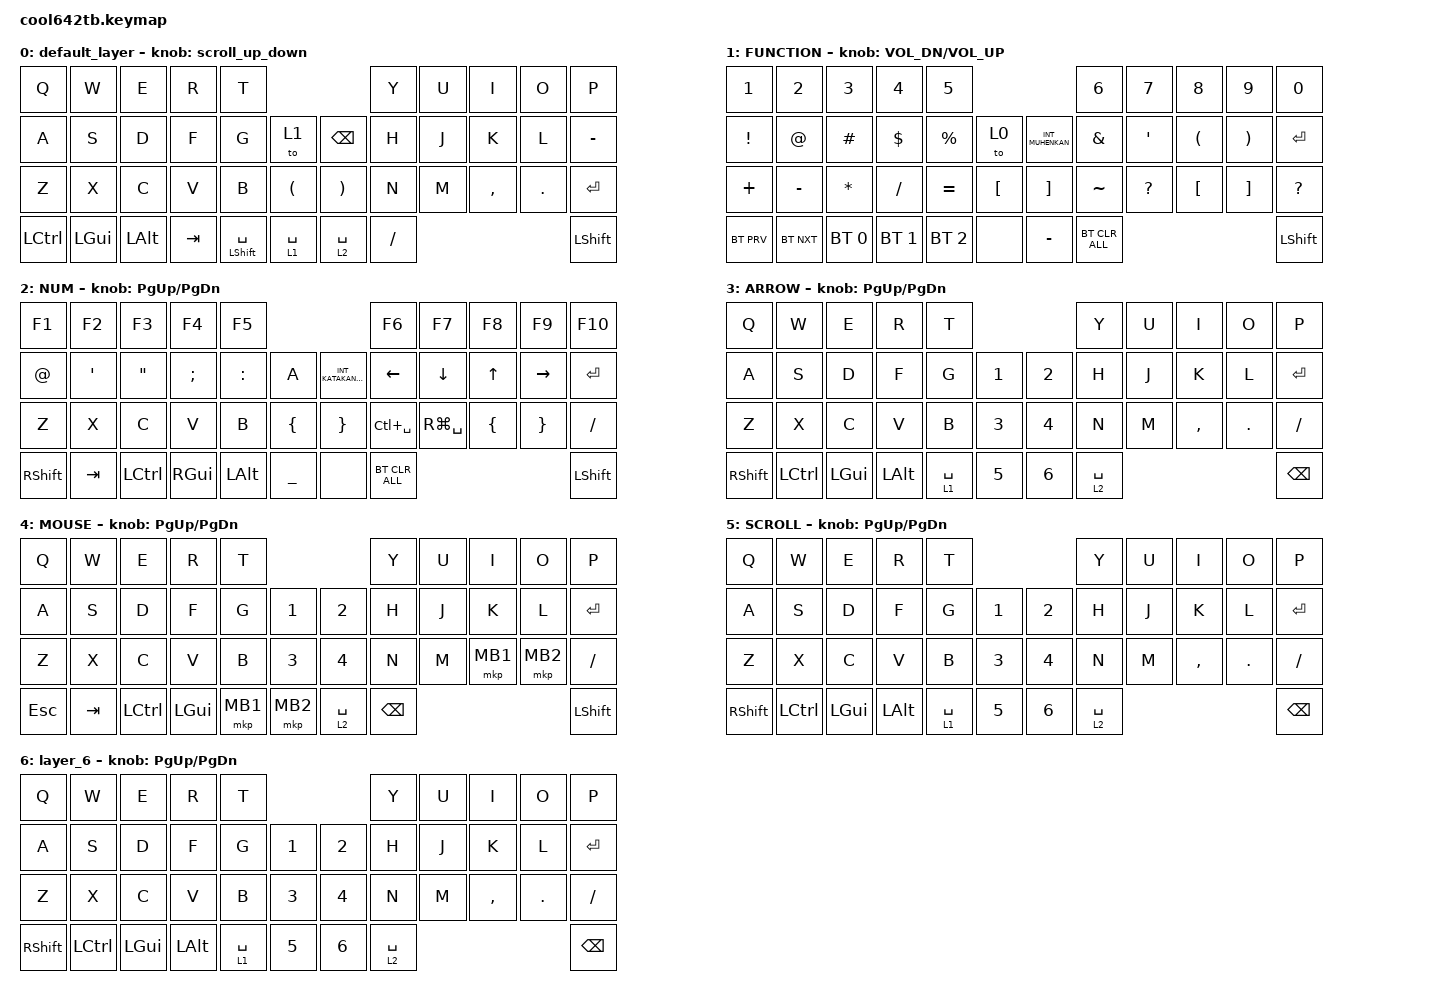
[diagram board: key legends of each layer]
#include <behaviors.dtsi>
#include <dt-bindings/zmk/bt.h>
#include <dt-bindings/zmk/keys.h>
#include <dt-bindings/zmk/pointing.h>

#define ZMK_MOUSE_DEFAULT_SCRL_VAL 100
#define MOUSE 4
#define SCROLL 5
#define NUM 6

&mt {
    flavor = "balanced";
    quick-tap-ms = <0>;
};

/ {
    combos {
        compatible = "zmk,combos";

        comb1 {
            bindings = <&kp TAB>;
            key-positions = <11 10>;
        };

        comb2 {
            bindings = <&kp LS(ESCAPE)>;
            key-positions = <0 1>;
        };

        comb3 {
            bindings = <&kp CAPSLOCK>;
            key-positions = <22 23>;
        };

        comb4 {
            bindings = <&kp BACKSPACE>;
            key-positions = <9 8>;
        };

        comb5 {
            bindings = <&bt BT_CLR_ALL>;
            key-positions = <9 8>;
            timeout-ms = <0>;
            layers = <2>;
        };
    };

    macros {
        to_layer_0: to_layer_0 {
            compatible = "zmk,behavior-macro-one-param";
            #binding-cells = <1>;
            bindings = <&to 0 &macro_param_1to1 &kp MACRO_PLACEHOLDER>;
            label = "TO_LAYER_0";
        };
    };

    behaviors {
        lt_to_layer_0: lt_to_layer_0 {
            compatible = "zmk,behavior-hold-tap";
            label = "LAYER_TAP_TO_0";
            bindings = <&mo>, <&to_layer_0>;

            #binding-cells = <2>;
            tapping-term-ms = <200>;
        };

        scroll_up_down: behavior_sensor_rotate_mouse_wheel_up_down {
            compatible = "zmk,behavior-sensor-rotate";
            #sensor-binding-cells = <0>;
            bindings = <&msc SCRL_UP>, <&msc SCRL_DOWN>;

            tap-ms = <20>;
        };
    };

    keymap {
        compatible = "zmk,keymap";

        default_layer {
            bindings = <
&kp Q             &kp W         &kp E         &kp R    &kp T                                                              &kp Y      &kp U  &kp I      &kp O       &kp P
&kp A             &kp S         &kp D         &kp F    &kp G                 &to 1                 &kp BACKSPACE          &kp H      &kp J  &kp K      &kp L       &kp MINUS
&kp Z             &kp X         &kp C         &kp V    &kp B                 &kp LEFT_PARENTHESIS  &kp RIGHT_PARENTHESIS  &kp N      &kp M  &kp COMMA  &kp PERIOD  &kp ENTER
&kp LEFT_CONTROL  &kp LEFT_GUI  &kp LEFT_ALT  &kp TAB  &mt LEFT_SHIFT SPACE  &lt 1 SPACE           &lt 2 SPACE            &kp SLASH                                &kp LEFT_SHIFT
            >;

            sensor-bindings = <&scroll_up_down>;
        };

        FUNCTION {
            bindings = <
&kp N1           &kp N2       &kp N3        &kp N4        &kp N5                                             &kp N6          &kp N7        &kp N8                &kp N9                 &kp N0
&kp EXCLAMATION  &kp AT_SIGN  &kp HASH      &kp DOLLAR    &kp PERCENT   &to 0             &kp INT_MUHENKAN   &kp AMPERSAND   &kp SQT       &kp LEFT_PARENTHESIS  &kp RIGHT_PARENTHESIS  &kp ENTER
&kp PLUS         &kp MINUS    &kp ASTERISK  &kp SLASH     &kp EQUAL     &kp LEFT_BRACKET  &kp RIGHT_BRACKET  &kp TILDE       &kp QUESTION  &kp LEFT_BRACKET      &kp RIGHT_BRACKET      &kp QUESTION
&bt BT_PRV       &bt BT_NXT   &bt BT_SEL 0  &bt BT_SEL 1  &bt BT_SEL 2  &none             &kp MINUS          &bt BT_CLR_ALL                                                             &kp LEFT_SHIFT
            >;

            sensor-bindings = <&inc_dec_kp C_VOL_DN C_VOL_UP>;
        };

        NUM {
            bindings = <
&kp F1       &kp F2   &kp F3             &kp F4         &kp F5                                                  &kp F6          &kp F7          &kp F8          &kp F9           &kp F10
&kp AT_SIGN  &kp SQT  &kp DOUBLE_QUOTES  &kp SEMICOLON  &kp COLON     &kp A           &kp INT_KATAKANAHIRAGANA  &kp LEFT        &kp DOWN_ARROW  &kp UP_ARROW    &kp RIGHT        &kp ENTER
&kp Z        &kp X    &kp C              &kp V          &kp B         &kp LEFT_BRACE  &kp RIGHT_BRACE           &kp LC(SPACE)   &kp RG(SPACE)   &kp LEFT_BRACE  &kp RIGHT_BRACE  &kp SLASH
&kp RSHIFT   &kp TAB  &kp LCTRL          &kp RGUI       &kp LEFT_ALT  &kp UNDERSCORE  &none                     &bt BT_CLR_ALL                                                   &kp LEFT_SHIFT
            >;

            sensor-bindings = <&inc_dec_kp PG_UP PAGE_DOWN>;
        };

        ARROW {
            bindings = <
&kp Q       &kp W      &kp E     &kp R     &kp T                        &kp Y        &kp U  &kp I      &kp O       &kp P
&kp A       &kp S      &kp D     &kp F     &kp G        &kp N1  &kp N2  &kp H        &kp J  &kp K      &kp L       &kp ENTER
&kp Z       &kp X      &kp C     &kp V     &kp B        &kp N3  &kp N4  &kp N        &kp M  &kp COMMA  &kp PERIOD  &kp SLASH
&kp RSHIFT  &kp LCTRL  &kp LGUI  &kp LALT  &lt 1 SPACE  &kp N5  &kp N6  &lt 2 SPACE                                &kp BSPC
            >;

            sensor-bindings = <&inc_dec_kp PG_UP PAGE_DOWN>;
        };

        MOUSE {
            bindings = <
&kp Q       &kp W    &kp E             &kp R         &kp T                            &kp Y          &kp U  &kp I     &kp O     &kp P
&kp A       &kp S    &kp D             &kp F         &kp G     &kp N1    &kp N2       &kp H          &kp J  &kp K     &kp L     &kp ENTER
&kp Z       &kp X    &kp C             &kp V         &kp B     &kp N3    &kp N4       &kp N          &kp M  &mkp MB1  &mkp MB2  &kp SLASH
&kp ESCAPE  &kp TAB  &kp LEFT_CONTROL  &kp LEFT_GUI  &mkp MB1  &mkp MB2  &lt 2 SPACE  &kp BACKSPACE                             &kp LEFT_SHIFT
            >;

            sensor-bindings = <&inc_dec_kp PG_UP PAGE_DOWN>;
        };

        SCROLL {
            bindings = <
&kp Q       &kp W      &kp E     &kp R     &kp T                        &kp Y        &kp U  &kp I      &kp O       &kp P
&kp A       &kp S      &kp D     &kp F     &kp G        &kp N1  &kp N2  &kp H        &kp J  &kp K      &kp L       &kp ENTER
&kp Z       &kp X      &kp C     &kp V     &kp B        &kp N3  &kp N4  &kp N        &kp M  &kp COMMA  &kp PERIOD  &kp SLASH
&kp RSHIFT  &kp LCTRL  &kp LGUI  &kp LALT  &lt 1 SPACE  &kp N5  &kp N6  &lt 2 SPACE                                &kp BSPC
            >;

            sensor-bindings = <&inc_dec_kp PG_UP PAGE_DOWN>;
        };

        layer_6 {
            bindings = <
&kp Q       &kp W      &kp E     &kp R     &kp T                        &kp Y        &kp U  &kp I      &kp O       &kp P
&kp A       &kp S      &kp D     &kp F     &kp G        &kp N1  &kp N2  &kp H        &kp J  &kp K      &kp L       &kp ENTER
&kp Z       &kp X      &kp C     &kp V     &kp B        &kp N3  &kp N4  &kp N        &kp M  &kp COMMA  &kp PERIOD  &kp SLASH
&kp RSHIFT  &kp LCTRL  &kp LGUI  &kp LALT  &lt 1 SPACE  &kp N5  &kp N6  &lt 2 SPACE                                &kp BSPC
            >;

            sensor-bindings = <&inc_dec_kp PG_UP PAGE_DOWN>;
        };
    };
};
